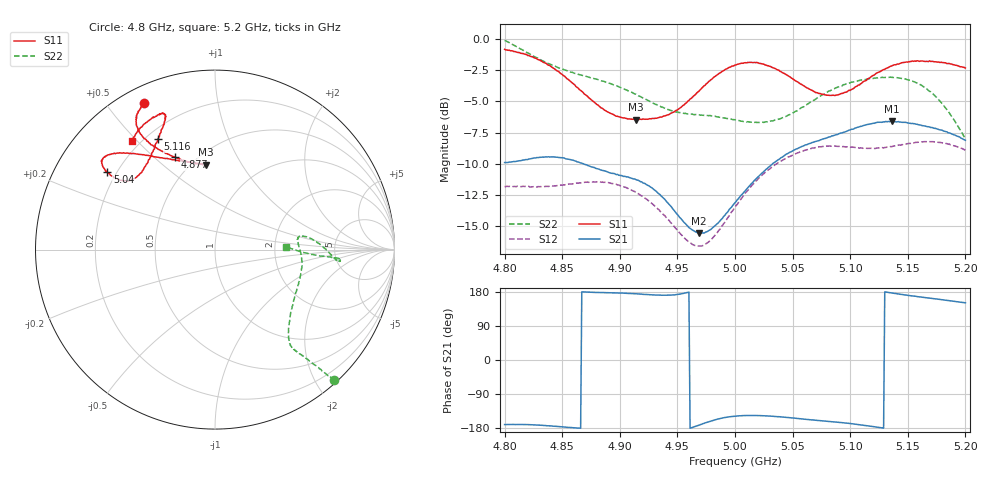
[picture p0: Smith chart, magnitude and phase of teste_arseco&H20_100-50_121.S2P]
! Network Analyzer HP8722D
! Hewlett-Packard
! Data name: Linha & Wilkinson
! Saver's name: Rodrigo Anjos
! Comments: Teste da utilização de aquisição
! continua pelo VNA HP8722D
! Time and date: 6/5/2025 13:34
!  Frequency  S11  S21  S12  S22
# HZ  S  MA R 50
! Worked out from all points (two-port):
!   401 points, 4.8 GHz to 5.2 GHz, reference 50 ohm
!   highest |S21| = -6.60 dB at 5.136 GHz (marker M1); lowest = -15.6 dB at 4.969 GHz (marker M2)
!   |S21| within 3 dB of the highest: 4.822 GHz to 4.853 GHz (30.61 MHz wide, 0.633 % of centre); 5.039 GHz to end of sweep
!   lowest |S11| = -6.5 dB at 4.914 GHz (marker M3), VSWR 2.81, Z = 29.1 + j35.5 ohm
!   |S11| at or under -10 dB: nowhere
!   |S22| runs from -8.0 to -0.1 dB; largest |S21 - S12| = 0.83
!   S11 on the Smith chart (normalised r, x): 4.8 GHz: 0.07, +0.63; 4.877 GHz: 0.39, +0.59; 5.04 GHz: 0.17, +0.31; 5.116 GHz: 0.24, +0.58; 5.2 GHz: 0.17, +0.48
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4.8e9  0.9077 115.8  0.3201 -170.4  0.257 -86.2  0.9848 -47.6
4.833e9  0.8088 122.4  0.3365 -172.5  0.2561 -77.3  0.816 -49.6
4.849e9  0.7255 122.2  0.3345 -176.3  0.26 -71.9  0.7593 -50.5
4.867e9  0.617 118.0  0.3183 179.7  0.2659 -67.3  0.7151 -51.6
4.877e9  0.5617 113.3  0.3062 178.7  0.268 -66.4  0.6949 -51.9
4.898e9  0.4899 102.3  0.2871 177.0  0.2603 -66.5  0.6468 -50.4
4.914e9  0.4754 96.3  0.2735 174.7  0.2423 -68.2  0.6002 -46.9
4.934e9  0.4848 99.0  0.2398 171.0  0.2074 -69.5  0.54 -37.5
4.95e9  0.519 109.3  0.1983 172.9  0.1715 -65.6  0.5095 -27.0
4.969e9  0.6196 123.4  0.1669 -171.6  0.1482 -48.1  0.4967 -15.1
4.981e9  0.6971 129.9  0.1762 -159.2  0.1607 -34.1  0.4893 -8.8
5e9  0.7856 137.3  0.2212 -148.4  0.2129 -21.6  0.4741 -0.3
5.018e9  0.803 141.6  0.2745 -146.5  0.2696 -18.3  0.4638 5.8
5.04e9  0.7387 144.3  0.3348 -150.2  0.3244 -18.4  0.4805 9.1
5.067e9  0.6216 142.1  0.3851 -158.0  0.3658 -20.6  0.5615 4.7
5.088e9  0.596 133.0  0.4138 -163.9  0.3718 -23.8  0.6375 -1.7
5.116e9  0.6941 117.2  0.455 -174.0  0.3647 -26.8  0.691 -5.2
5.134e9  0.7715 111.1  0.4662 177.8  0.3697 -28.7  0.7019 -4.9
5.136e9  0.7787 110.7  0.4678 177.0  0.3703 -29.1  0.7011 -4.7
5.164e9  0.8128 113.4  0.449 165.2  0.3879 -36.0  0.6419 -3.6
5.181e9  0.803 119.5  0.4278 158.5  0.3833 -41.3  0.542 -2.9
5.2e9  0.7641 127.4  0.3928 150.9  0.3591 -46.4  0.3975 2.4
